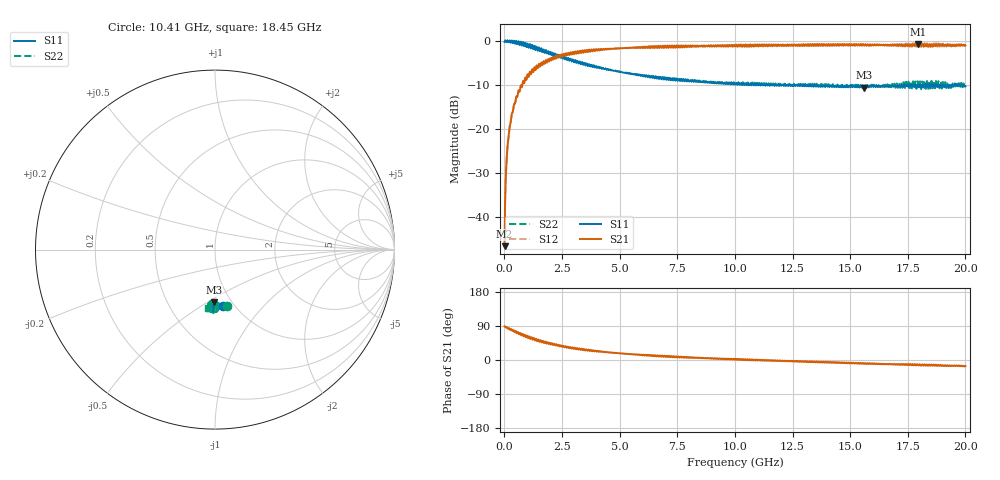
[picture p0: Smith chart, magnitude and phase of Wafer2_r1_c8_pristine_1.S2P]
!  2-Port S-parameters saved by WinCal
! VAR MeasName=S-Parameters (CALIBRATED_DATA) read from VNA (P5004A)
! VAR MeasDate=26/04/2024 17:49:59
! VAR NAME=Wafer2_r1_c8_pristine
! VAR FILENAME=Wafer2_r1_c8_pristine_1.S2P
! VAR DATE=26/04/2024 17:49:59
! VAR PHYS_PORTS=1,2
! VAR ObjTypeName=DATASET
! VAR IndexType=Frequency
# Hz S MA R 50
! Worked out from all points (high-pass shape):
!   1999 points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, 10.01 MHz to 20 GHz, reference 50 ohm
!   highest |S21| = -0.68 dB at 17.94 GHz (marker M1); lowest = -46.7 dB at 10.01 MHz (marker M2)
!   |S21| within 3 dB of the highest: 2.257 GHz to 2.318 GHz (61.05 MHz wide, 2.67 % of centre); 2.343 GHz to end of sweep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
!   lowest |S11| = -10.6 dB at 15.61 GHz (marker M3), VSWR 1.84, Z = 41.5 - j26.8 ohm
!   |S11| at or under -10 dB: 13.58 GHz to 17.14 GHz (3.566 GHz wide, 23.2 % of centre); 19.25 GHz to 19.43 GHz (180.2 MHz wide, 0.931 % of centre); 19.85 GHz to end of sweep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
!   |S22| runs from -11.0 to 0.1 dB; largest |S21 - S12| = 0.038
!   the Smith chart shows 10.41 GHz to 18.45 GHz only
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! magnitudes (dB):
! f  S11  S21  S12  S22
! 10.01 MHz  -0.2  -46.7  -46.6  -0.2
! 50.03 MHz  0.1  -32.5  -32.6  0.1
! 120.1 MHz  0.1  -25.1  -25.1  0.0
! 160.1 MHz  -0.1  -22.8  -22.8  -0.1
! 210.1 MHz  0.0  -20.4  -20.3  0.0
! 280.1 MHz  -0.3  -18.2  -18.2  -0.3
! 380.2 MHz  -0.4  -15.7  -15.6  -0.4
! 500.3 MHz  -0.1  -13.1  -13.1  -0.1
! 660.3 MHz  -0.8  -11.4  -11.5  -0.8
! 1.051 GHz  -1.5  -8.2  -8.2  -1.5
! 1.551 GHz  -2.3  -5.8  -5.7  -2.3
! 2.331 GHz  -3.6  -3.8  -3.8  -3.6
! 3.342 GHz  -5.1  -2.5  -2.5  -5.1
! 4.802 GHz  -6.8  -1.7  -1.7  -6.7
! 6.673 GHz  -8.1  -1.1  -1.1  -8.3
! 10.01 GHz  -9.9  -1.2  -1.3  -9.8
! 13.35 GHz  -10.1  -0.9  -0.7  -9.7
! 15.61 GHz  -10.6  -1.0  -1.0  -10.4
! 16.68 GHz  -10.3  -0.9  -1.0  -10.4
! 17.94 GHz  -9.9  -0.7  -0.6  -9.4
! 19.58 GHz  -10.1  -1.1  -1.2  -10.3
! 20 GHz  -10.3  -1.0  -0.9  -10.2
